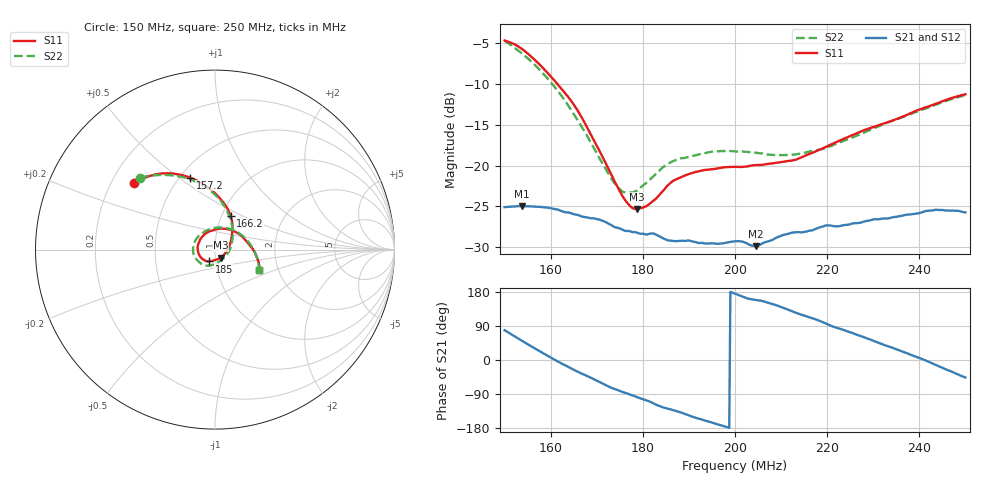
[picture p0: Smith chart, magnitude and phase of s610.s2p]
# Hz S MA R 50
! Planar, Obzor-304, 08125003, 3.51/02
! Äàòà: 26.03.2019 11:27:57
! ×àñòîòà  S11: Mag/Ang (F2)  S21: Mag/Ang (F2)  S12: Mag/Ang (F2)  S22: Mag/Ang (F2)
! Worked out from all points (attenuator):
!   401 points, 150 MHz to 250 MHz, reference 50 ohm
!   highest |S21| = -24.96 dB at 153.8 MHz (marker M1); lowest = -29.9 dB at 204.5 MHz (marker M2)
!   lowest |S11| = -25.3 dB at 178.8 MHz (marker M3), VSWR 1.11, Z = 53 - j4.74 ohm
!   |S11| at or under -10 dB: 161.4 MHz to end of sweep
!   |S22| runs from -23.3 to -4.7 dB; largest |S21 - S12| = 0.00059
!   S11 on the Smith chart (normalised r, x): 150 MHz: 0.30, +0.33; 157.2 MHz: 0.56, +0.55; 166.2 MHz: 1.10, +0.43; 185 MHz: 0.93, -0.12; 250 MHz: 1.60, -0.40
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1.5e8  0.5815 140.7  0.05563 78.6  0.05567 78.9  0.5789 136.1
1.5375e8  0.5165 124.8  0.05647 50.8  0.05657 51.0  0.4842 121.1
1.5725e8  0.4235 108.9  0.05599 25.7  0.05636 25.9  0.394 105.9
1.6175e8  0.3082 88.9  0.05352 -5.6  0.05384 -5.7  0.2806 84.8
1.6625e8  0.2076 65.3  0.0494 -33.2  0.0494 -33.2  0.1817 60.7
1.6675e8  0.1963 62.4  0.04879 -35.9  0.04881 -35.9  0.1722 57.7
1.745e8  0.07403 4.9  0.04164 -79.1  0.04179 -79.2  0.07388 -16.0
1.77e8  0.05745 -28.7  0.03976 -90.0  0.03982 -90.2  0.06833 -49.4
1.7875e8  0.05428 -55.2  0.03885 -98.3  0.03883 -98.3  0.07033 -69.0
1.81e8  0.05699 -84.7  0.03794 -107.3  0.03795 -107.3  0.07959 -89.4
1.835e8  0.06572 -105.8  0.03705 -121.1  0.03711 -120.9  0.09255 -106.9
1.85e8  0.07348 -116.4  0.0353 -127.1  0.03541 -127.0  0.1004 -116.8
1.87e8  0.08181 -130.7  0.03446 -133.7  0.03468 -133.8  0.1076 -129.0
1.9075e8  0.09018 -151.0  0.03432 -149.6  0.03438 -150.0  0.1143 -146.9
2e8  0.09824 164.1  0.03442 175.2  0.03403 175.3  0.1221 171.4
2.045e8  0.1006 142.1  0.03213 158.5  0.03184 158.8  0.1197 149.6
2.1075e8  0.1058 108.1  0.03777 136.4  0.03754 137.2  0.1158 118.0
2.1675e8  0.1195 77.1  0.04011 110.3  0.04023 110.8  0.1225 86.5
2.2475e8  0.1503 41.2  0.04358 74.2  0.0438 74.9  0.1456 49.7
2.335e8  0.1854 12.1  0.04765 35.1  0.04803 35.3  0.1848 17.5
2.435e8  0.2379 -10.8  0.05363 -12.7  0.05398 -12.6  0.2353 -9.5
2.5e8  0.2727 -24.9  0.05172 -46.2  0.05204 -46.2  0.2699 -25.0
